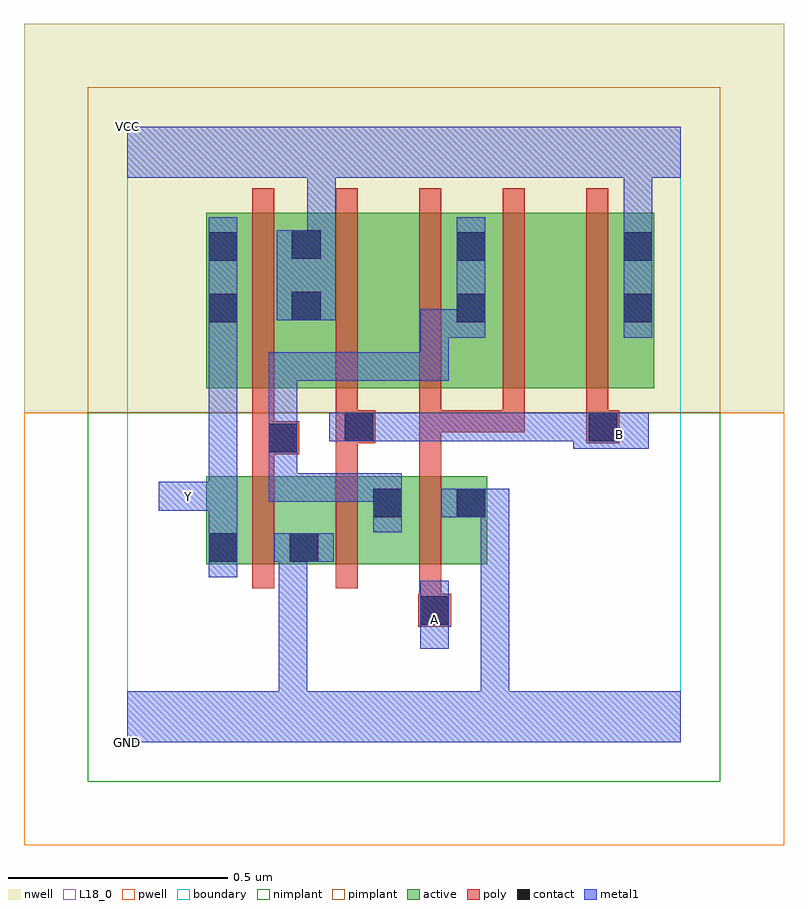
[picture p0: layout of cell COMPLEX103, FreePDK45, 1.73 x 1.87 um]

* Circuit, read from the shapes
.subckt COMPLEX103 A B GND VCC Y
M1 GND n1 Y VSUBS nfet w=0.2u l=0.05u
M2 n1 B GND VSUBS nfet w=0.2u l=0.05u
M3 GND A n1 VSUBS nfet w=0.2u l=0.05u
M4 VCC n1 Y n2 pfet w=0.4u l=0.05u
M5 n3 B VCC n2 pfet w=0.4u l=0.05u
M6 n1 A n3 n2 pfet w=0.4u l=0.05u
M7 n4 A n1 n2 pfet w=0.4u l=0.05u
M8 VCC B n4 n2 pfet w=0.4u l=0.05u
.ends

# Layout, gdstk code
import gdstk
lib = gdstk.Library(unit=1e-6, precision=1e-09)
def R(c, l, rs):  # rectangles x0, y0, x1, y1
    for r in rs: c.add(gdstk.rectangle(r[:2], r[2:], *l))
def A(c, l, x, y, w, h, nx, ny, dx, dy):  # array of equal rectangles
    R(c, l, [(x+i*dx, y+j*dy, x+i*dx+w, y+j*dy+h) for i in range(nx) for j in range(ny)])
active = (1, 0)
pwell = (2, 0)
nwell = (3, 0)
nimplant = (4, 0)
pimplant = (5, 0)
poly = (9, 0)
contact = (10, 0)
metal1 = (11, 0)
L18_0 = (18, 0)
boundary = (235, 0)

complex103 = lib.new_cell('COMPLEX103')
R(complex103, active, [(0.18,0.405,0.255,0.605), (0.18,0.405,0.44,0.605), (0.365,0.405,0.63,0.605), (0.365,0.405,0.44,0.597), (0.555,0.405,0.82,0.605), (0.555,0.405,0.63,0.582), (0.745,0.405,0.82,0.605), (0.18,0.805,0.255,1.2), (0.18,0.805,0.445,1.205), (0.37,0.805,0.595,1.205), (0.595,0.805,0.82,1.205), (0.745,0.805,0.975,1.205), (0.745,0.805,0.82,1.2), (0.975,0.805,1.2,1.205), (1.125,0.805,1.2,1.205), (0.37,0.907,0.445,1.205)])
R(complex103, pwell, [(-0.235,-0.235,1.495,0.75)])
R(complex103, nwell, [(-0.235,0.75,1.495,1.635)])
R(complex103, nimplant, [(-0.09,-0.09,1.35,0.75)])
R(complex103, pimplant, [(-0.09,0.75,1.35,1.49)])
A(complex103, poly, 0.285, 0.35, 0.05, 0.31, 3, 1, 0.19, 0)
A(complex103, poly, 0.475, 0.705, 0.05, 0.095, 4, 1, 0.19, 0)
A(complex103, poly, 0.285, 0.75, 0.05, 0.51, 5, 1, 0.19, 0)
R(complex103, poly, [(0.662,0.262,0.737,0.337), (0.665,0.287,0.715,0.4), (0.285,0.61,0.335,0.705), (0.475,0.61,0.525,0.73), (0.665,0.61,0.715,0.755), (0.285,0.655,0.392,0.73), (0.285,0.68,0.335,0.8), (0.475,0.68,0.565,0.755), (1.045,0.68,1.12,0.755), (0.665,0.705,0.715,0.755), (0.665,0.705,0.905,0.755), (0.855,0.705,0.905,0.755), (0.855,0.705,0.905,0.755), (0.855,0.705,0.905,0.755)])
R(complex103, contact, [(0.667,0.267,0.732,0.332), (0.185,0.41,0.25,0.475), (0.37,0.41,0.435,0.475), (0.56,0.512,0.625,0.577), (0.75,0.512,0.815,0.577), (0.322,0.66,0.387,0.725), (0.495,0.685,0.56,0.75), (1.05,0.685,1.115,0.75), (0.185,0.955,0.25,1.02), (0.75,0.955,0.815,1.02), (1.13,0.955,1.195,1.02), (0.375,0.96,0.44,1.025), (0.185,1.095,0.25,1.16), (0.75,1.095,0.815,1.16), (1.13,1.095,1.195,1.16), (0.375,1.1,0.44,1.165)])
R(complex103, metal1, [(0,0,1.26,0.115), (0.345,0.05,0.41,0.475), (0.805,0.05,0.87,0.115), (0.805,0.05,0.87,0.115), (0.805,0.05,0.87,0.115), (0.805,0.05,0.87,0.115), (0.805,0.05,0.87,0.577), (0.667,0.212,0.732,0.367), (0.185,0.375,0.25,0.51), (0.335,0.41,0.47,0.475), (0.345,0.41,0.41,0.475), (0.345,0.41,0.41,0.475), (0.345,0.41,0.41,0.475), (0.345,0.41,0.41,0.475), (0.345,0.41,0.41,0.475), (0.345,0.41,0.41,0.475), (0.185,0.445,0.25,0.592), (0.56,0.477,0.625,0.612), (0.715,0.512,0.87,0.577), (0.805,0.512,0.87,0.577), (0.805,0.512,0.87,0.577), (0.072,0.527,0.25,0.592), (0.185,0.527,0.25,0.985), (0.322,0.547,0.387,0.612), (0.322,0.547,0.595,0.612), (0.322,0.547,0.387,0.69), (0.53,0.547,0.595,0.612), (0.53,0.547,0.625,0.612), (0.322,0.625,0.387,0.69), (0.322,0.625,0.387,0.69), (0.322,0.625,0.387,0.76), (0.322,0.625,0.387,0.887), (1.015,0.667,1.187,0.75), (0.46,0.685,0.595,0.75), (0.53,0.685,0.595,0.75), (0.53,0.685,0.595,0.75), (0.53,0.685,0.732,0.75), (0.667,0.685,0.732,0.75), (0.667,0.685,0.732,0.75), (0.667,0.685,0.732,0.75), (0.667,0.685,0.935,0.75), (0.87,0.685,1.08,0.75), (0.87,0.685,0.935,0.75), (0.87,0.685,0.935,0.75), (0.87,0.685,0.935,0.75), (0.322,0.822,0.387,0.887), (0.322,0.822,0.525,0.887), (0.46,0.822,0.525,0.887), (0.46,0.822,0.525,0.887), (0.46,0.822,0.525,0.887), (0.46,0.822,0.732,0.887), (0.667,0.822,0.732,0.985), (0.185,0.92,0.25,1.195), (0.667,0.92,0.815,0.985), (0.75,0.92,0.815,1.195), (1.13,0.92,1.195,1.195), (0.34,0.96,0.475,1.165), (0.41,1.1,0.475,1.35), (1.13,1.13,1.195,1.35), (0,1.285,1.26,1.4)])
R(complex103, L18_0, [(0,0,1.26,0.115), (0.345,0.05,0.41,0.475), (0.805,0.05,0.87,0.115), (0.805,0.05,0.87,0.115), (0.805,0.05,0.87,0.115), (0.805,0.05,0.87,0.115), (0.805,0.05,0.87,0.577), (0.667,0.212,0.732,0.367), (0.667,0.247,0.732,0.312), (0.185,0.375,0.25,0.51), (0.335,0.41,0.47,0.475), (0.345,0.41,0.41,0.475), (0.345,0.41,0.41,0.475), (0.345,0.41,0.41,0.475), (0.345,0.41,0.41,0.475), (0.345,0.41,0.41,0.475), (0.345,0.41,0.41,0.475), (0.185,0.445,0.25,0.592), (0.715,0.512,0.87,0.577), (0.805,0.512,0.87,0.577), (0.805,0.512,0.87,0.577), (0.072,0.527,0.25,0.592), (0.107,0.527,0.172,0.592), (0.185,0.527,0.25,0.985), (1.015,0.667,1.187,0.75), (1.087,0.667,1.152,0.732), (0.46,0.685,0.595,0.75), (0.53,0.685,0.595,0.75), (0.53,0.685,0.595,0.75), (0.53,0.685,0.732,0.75), (0.667,0.685,0.732,0.75), (0.667,0.685,0.732,0.75), (0.667,0.685,0.732,0.75), (0.667,0.685,0.935,0.75), (0.87,0.685,0.935,0.75), (0.87,0.685,0.935,0.75), (0.87,0.685,0.935,0.75), (0.87,0.685,1.08,0.75), (0.185,0.92,0.25,1.195), (1.13,0.92,1.195,1.195), (0.34,0.96,0.475,1.165), (0.41,1.1,0.475,1.35), (1.13,1.13,1.195,1.35), (0,1.285,1.26,1.4)])
R(complex103, boundary, [(0,0,1.26,1.4)])
complex103.add(gdstk.Label('A', (0.7,0.28), layer=11, texttype=0))
complex103.add(gdstk.Label('B', (1.12,0.7), layer=11, texttype=0))
complex103.add(gdstk.Label('Y', (0.14,0.56), layer=11, texttype=0))
complex103.add(gdstk.Label('VCC', (0,1.4), layer=11, texttype=0))
complex103.add(gdstk.Label('GND', (0,0), layer=11, texttype=0))

lib.write_gds('COMPLEX103.gds')
